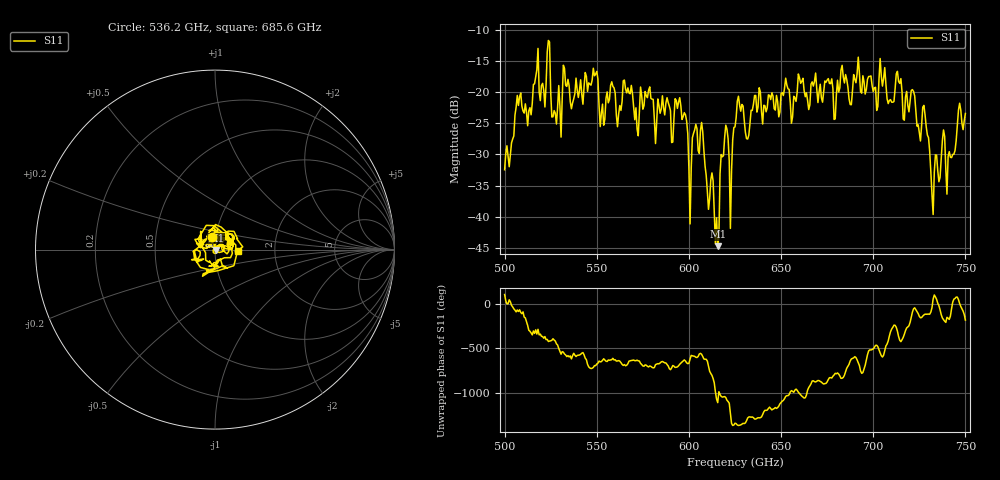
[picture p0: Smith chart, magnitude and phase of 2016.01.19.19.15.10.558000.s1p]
!Created with skrf (http://scikit-rf.org).
# GHz S RI R 50.0
!freq ReS11 ImS11
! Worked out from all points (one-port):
!   401 points, 500 GHz to 750 GHz, reference 50 ohm
!   lowest |S11| = -44.7 dB at 615.6 GHz (marker M1), VSWR 1.01, Z = 50.5 - j0.279 ohm
!   |S11| at or under -10 dB: start of sweep to end of sweep
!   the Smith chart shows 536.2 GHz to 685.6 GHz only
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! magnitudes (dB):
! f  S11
! 500 GHz  -32.5
! 516.9 GHz  -17.6
! 520.6 GHz  -18.6
! 523.8 GHz  -11.7
! 526.9 GHz  -23.0
! 531.2 GHz  -21.1
! 549.4 GHz  -17.1
! 553.1 GHz  -21.9
! 558.8 GHz  -19.1
! 562.5 GHz  -22.2
! 565.6 GHz  -19.5
! 571.9 GHz  -25.9
! 593.8 GHz  -22.6
! 600.6 GHz  -41.2
! 603.1 GHz  -26.1
! 607.5 GHz  -26.4
! 615.6 GHz  -44.7
! 618.8 GHz  -30.2
! 623.1 GHz  -32.7
! 625 GHz  -25.6
! 656.2 GHz  -23.9
! 660.6 GHz  -18.6
! 687.5 GHz  -22.0
! 705 GHz  -19.0
! 718.8 GHz  -22.1
! 728.1 GHz  -23.7
! 732.5 GHz  -39.7
! 750 GHz  -23.4
